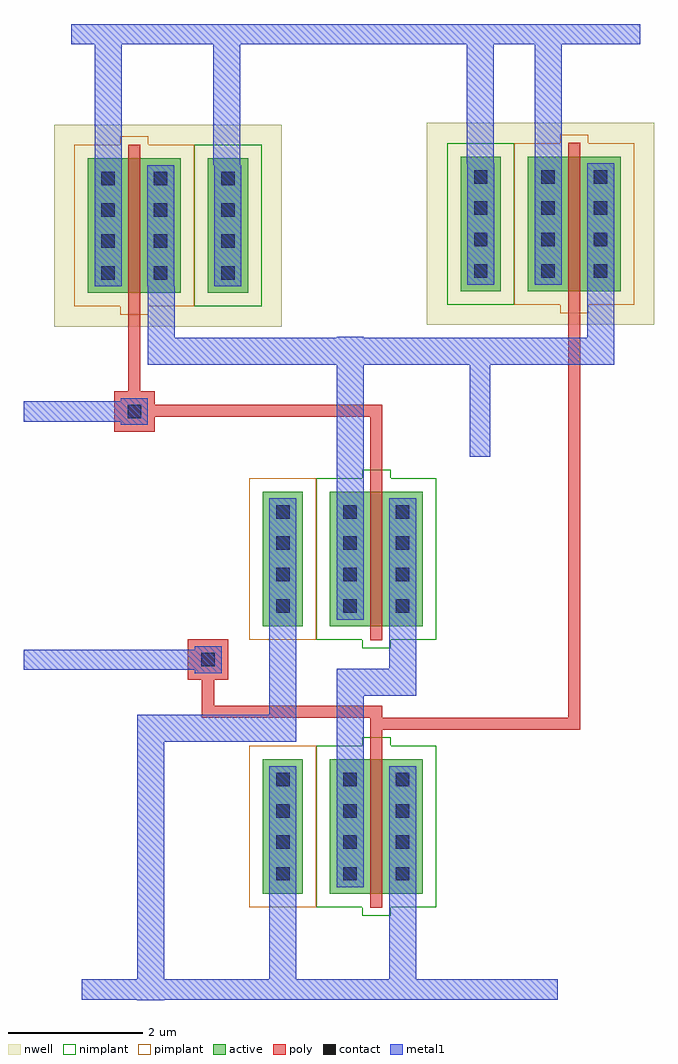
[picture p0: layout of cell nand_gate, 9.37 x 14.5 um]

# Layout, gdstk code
import gdstk
lib = gdstk.Library(unit=1e-6, precision=5e-10)
def R(c, l, rs):  # rectangles x0, y0, x1, y1
    for r in rs: c.add(gdstk.rectangle(r[:2], r[2:], *l))
def A(c, l, x, y, w, h, nx, ny, dx, dy):  # array of equal rectangles
    R(c, l, [(x+i*dx, y+j*dy, x+i*dx+w, y+j*dy+h) for i in range(nx) for j in range(ny)])
active = (1, 0)
nwell = (2, 0)
poly = (3, 0)
nimplant = (4, 0)
pimplant = (5, 0)
contact = (6, 0)
metal1 = (7, 0)

nmos_cdns_691656648010 = lib.new_cell('nmos_CDNS_691656648010')
R(nmos_cdns_691656648010, active, [(-1.6,0,-1,2), (-0.6,0,0,2), (0,0,0.18,2), (0.18,0,0.78,2)])
R(nmos_cdns_691656648010, poly, [(0,-0.205,0.18,-0.2), (0,-0.2,0.18,0), (0,0,0.18,2), (0,2,0.18,2.2), (0,2.2,0.18,2.205)])
R(nmos_cdns_691656648010, nimplant, [(-0.12,-0.325,0.3,-0.2), (-0.8,-0.2,0.98,2.2), (-0.12,2.2,0.3,2.325)])
R(nmos_cdns_691656648010, pimplant, [(-1.8,-0.2,-0.8,2.2)])
A(nmos_cdns_691656648010, contact, -1.4, 0.67, 0.2, 0.2, 1, 3, 0, 0.465)
A(nmos_cdns_691656648010, contact, -0.4, 0.67, 0.2, 0.2, 1, 3, 0, 0.465)
A(nmos_cdns_691656648010, contact, 0.38, 0.67, 0.2, 0.2, 1, 3, 0, 0.465)
R(nmos_cdns_691656648010, contact, [(-1.4,0.2,-1.2,0.4), (-0.4,0.2,-0.2,0.4), (0.38,0.2,0.58,0.4)])
R(nmos_cdns_691656648010, metal1, [(-1.5,0.1,-1.1,1.9), (-0.5,0.1,-0.1,1.9), (0.28,0.1,0.68,1.9)])

pmos_cdns_691656648011 = lib.new_cell('pmos_CDNS_691656648011')
R(pmos_cdns_691656648011, active, [(-0.6,0,0,2), (0,0,0.18,2), (0.18,0,0.78,2), (1.18,0,1.78,2)])
R(pmos_cdns_691656648011, nwell, [(-1.1,-0.5,2.28,2.5)])
R(pmos_cdns_691656648011, poly, [(0,-0.205,0.18,-0.2), (0,-0.2,0.18,0), (0,0,0.18,2), (0,2,0.18,2.2), (0,2.2,0.18,2.205)])
R(pmos_cdns_691656648011, nimplant, [(0.98,-0.2,1.98,2.2)])
R(pmos_cdns_691656648011, pimplant, [(-0.12,-0.325,0.3,-0.2), (-0.8,-0.2,0.98,2.2), (-0.12,2.2,0.3,2.325)])
A(pmos_cdns_691656648011, contact, -0.4, 0.67, 0.2, 0.2, 1, 3, 0, 0.465)
A(pmos_cdns_691656648011, contact, 0.38, 0.67, 0.2, 0.2, 1, 3, 0, 0.465)
A(pmos_cdns_691656648011, contact, 1.38, 0.67, 0.2, 0.2, 1, 3, 0, 0.465)
R(pmos_cdns_691656648011, contact, [(-0.4,0.2,-0.2,0.4), (0.38,0.2,0.58,0.4), (1.38,0.2,1.58,0.4)])
R(pmos_cdns_691656648011, metal1, [(-0.5,0.1,-0.1,1.9), (0.28,0.1,0.68,1.9), (1.28,0.1,1.68,1.9)])

pmos_cdns_691656648012 = lib.new_cell('pmos_CDNS_691656648012')
R(pmos_cdns_691656648012, active, [(-1.6,0,-1,2), (-0.6,0,0,2), (0,0,0.18,2), (0.18,0,0.78,2)])
R(pmos_cdns_691656648012, nwell, [(-2.1,-0.5,1.28,2.5)])
R(pmos_cdns_691656648012, poly, [(0,-0.205,0.18,-0.2), (0,-0.2,0.18,0), (0,0,0.18,2), (0,2,0.18,2.2), (0,2.2,0.18,2.205)])
R(pmos_cdns_691656648012, nimplant, [(-1.8,-0.2,-0.8,2.2)])
R(pmos_cdns_691656648012, pimplant, [(-0.12,-0.325,0.3,-0.2), (-0.8,-0.2,0.98,2.2), (-0.12,2.2,0.3,2.325)])
A(pmos_cdns_691656648012, contact, -1.4, 0.67, 0.2, 0.2, 1, 3, 0, 0.465)
A(pmos_cdns_691656648012, contact, -0.4, 0.67, 0.2, 0.2, 1, 3, 0, 0.465)
A(pmos_cdns_691656648012, contact, 0.38, 0.67, 0.2, 0.2, 1, 3, 0, 0.465)
R(pmos_cdns_691656648012, contact, [(-1.4,0.2,-1.2,0.4), (-0.4,0.2,-0.2,0.4), (0.38,0.2,0.58,0.4)])
R(pmos_cdns_691656648012, metal1, [(-1.5,0.1,-1.1,1.9), (-0.5,0.1,-0.1,1.9), (0.28,0.1,0.68,1.9)])

m1_poly1_cdns_6916566480 = lib.new_cell('M1_POLY1_CDNS_691656648010')
R(m1_poly1_cdns_6916566480, poly, [(-0.3,-0.3,0.3,0.3)])
R(m1_poly1_cdns_6916566480, contact, [(-0.1,-0.1,0.1,0.1)])
R(m1_poly1_cdns_6916566480, metal1, [(-0.2,-0.2,0.2,0.2)])

nand_gate = lib.new_cell('nand_gate')
R(nand_gate, metal1, [(4.7,-1.98,5,-1.68), (0,2.92,0.3,3.22), (6.63,6.085,6.93,6.385), (0,6.605,0.3,6.905), (4.765,12.21,5.065,12.51)])
nand_gate.add(gdstk.FlexPath([(5.24,2.295),(5.24,2.115)], 0.18, ends="extended", simple_path=True, layer=3, datatype=0))  # poly
nand_gate.add(gdstk.FlexPath([(8.18,2.115),(5.24,2.115)], 0.18, ends="extended", simple_path=True, layer=3, datatype=0))  # poly
nand_gate.add(gdstk.FlexPath([(8.18,8.335),(8.18,2.115)], 0.18, ends=(0, 0.09), simple_path=True, layer=3, datatype=0))  # poly
nand_gate.add(gdstk.FlexPath([(2.74,3.15),(2.74,2.295)], 0.18, ends=(0, 0.09), simple_path=True, layer=3, datatype=0))  # poly
nand_gate.add(gdstk.FlexPath([(2.74,2.295),(5.24,2.295)], 0.18, ends="extended", simple_path=True, layer=3, datatype=0))  # poly
nand_gate.add(gdstk.FlexPath([(5.24,2.115),(5.24,1.795)], 0.18, ends=(0.09, 0), simple_path=True, layer=3, datatype=0))  # poly
nand_gate.add(gdstk.FlexPath([(1.645,6.755),(1.645,6.765)], 0.18, ends=(0, 0.09), simple_path=True, layer=3, datatype=0))  # poly
nand_gate.add(gdstk.FlexPath([(5.24,5.77),(5.24,6.765)], 0.18, ends=(0, 0.09), simple_path=True, layer=3, datatype=0))  # poly
nand_gate.add(gdstk.FlexPath([(5.24,6.765),(1.645,6.765)], 0.18, ends="extended", simple_path=True, layer=3, datatype=0))  # poly
nand_gate.add(gdstk.FlexPath([(1.645,6.765),(1.645,8.31)], 0.18, ends=(0.09, 0), simple_path=True, layer=3, datatype=0))  # poly
nand_gate.add(gdstk.FlexPath([(1.645,6.755),(1.645,6.555)], 0.18, ends=(0.09, 0), simple_path=True, layer=3, datatype=0))  # poly
nand_gate.add(gdstk.FlexPath([(1.89,-1.83),(0.865,-1.83)], 0.3, ends=(0.2, 0), simple_path=True, layer=7, datatype=0))  # metal1
nand_gate.add(gdstk.FlexPath([(1.89,-1.83),(1.89,-1.985)], 0.4, ends=(0.15, 0), simple_path=True, layer=7, datatype=0))  # metal1
nand_gate.add(gdstk.FlexPath([(1.89,2.05),(1.89,-1.83)], 0.4, ends=(0.2, 0.15), simple_path=True, layer=7, datatype=0))  # metal1
nand_gate.add(gdstk.FlexPath([(3.85,2.05),(1.89,2.05)], 0.4, ends="extended", simple_path=True, layer=7, datatype=0))  # metal1
nand_gate.add(gdstk.FlexPath([(3.85,-0.31),(3.85,-1.975)], 0.4, ends="flush", simple_path=True, layer=7, datatype=0))  # metal1
nand_gate.add(gdstk.FlexPath([(3.85,3.665),(3.85,2.05)], 0.4, ends=(0, 0.2), simple_path=True, layer=7, datatype=0))  # metal1
nand_gate.add(gdstk.FlexPath([(6.78,12.36),(7.79,12.36)], 0.3, ends=(0.2, 0.2), simple_path=True, layer=7, datatype=0))  # metal1
nand_gate.add(gdstk.FlexPath([(6.78,12.36),(6.78,12.505)], 0.4, ends=(0.15, 0), simple_path=True, layer=7, datatype=0))  # metal1
nand_gate.add(gdstk.FlexPath([(6.78,10.435),(6.78,12.36)], 0.4, ends=(0, 0.15), simple_path=True, layer=7, datatype=0))  # metal1
nand_gate.add(gdstk.FlexPath([(3.02,12.36),(1.255,12.36)], 0.3, ends=(0.2, 0.2), simple_path=True, layer=7, datatype=0))  # metal1
nand_gate.add(gdstk.FlexPath([(3.02,12.36),(3.02,12.435)], 0.4, ends=(0.15, 0), simple_path=True, layer=7, datatype=0))  # metal1
nand_gate.add(gdstk.FlexPath([(3.02,10.41),(3.02,12.36)], 0.4, ends=(0, 0.15), simple_path=True, layer=7, datatype=0))  # metal1
nand_gate.add(gdstk.FlexPath([(8.57,7.65),(6.78,7.65)], 0.4, ends=(0.2, 0.15), simple_path=True, layer=7, datatype=0))  # metal1
nand_gate.add(gdstk.FlexPath([(6.78,6.385),(6.78,7.65)], 0.3, ends=(0, 0.2), simple_path=True, layer=7, datatype=0))  # metal1
nand_gate.add(gdstk.FlexPath([(0.3,3.07),(2.74,3.07)], 0.3, ends="flush", simple_path=True, layer=7, datatype=0))  # metal1
nand_gate.add(gdstk.FlexPath([(4.855,2.735),(4.855,1.49)], 0.4, ends=(0.2, 0), simple_path=True, layer=7, datatype=0))  # metal1
nand_gate.add(gdstk.FlexPath([(5.63,2.735),(4.855,2.735)], 0.4, ends="extended", simple_path=True, layer=7, datatype=0))  # metal1
nand_gate.add(gdstk.FlexPath([(5.63,-0.31),(5.63,-1.97)], 0.4, ends="flush", simple_path=True, layer=7, datatype=0))  # metal1
nand_gate.add(gdstk.FlexPath([(5.63,3.665),(5.63,2.735)], 0.4, ends=(0, 0.2), simple_path=True, layer=7, datatype=0))  # metal1
nand_gate.add(gdstk.FlexPath([(0.3,6.755),(1.645,6.755)], 0.3, ends="flush", simple_path=True, layer=7, datatype=0))  # metal1
nand_gate.add(gdstk.FlexPath([(5,-1.83),(7.935,-1.83)], 0.3, ends="flush", simple_path=True, layer=7, datatype=0))  # metal1
nand_gate.add(gdstk.FlexPath([(4.7,-1.83),(1.89,-1.83)], 0.3, ends=(0, 0.2), simple_path=True, layer=7, datatype=0))  # metal1
nand_gate.add(gdstk.FlexPath([(4.85,5.465),(4.85,7.865)], 0.4, ends="flush", simple_path=True, layer=7, datatype=0))  # metal1
nand_gate.add(gdstk.FlexPath([(5.065,12.36),(6.78,12.36)], 0.3, ends=(0, 0.2), simple_path=True, layer=7, datatype=0))  # metal1
nand_gate.add(gdstk.FlexPath([(7.79,10.44),(7.79,12.36)], 0.4, ends=(0, 0.15), simple_path=True, layer=7, datatype=0))  # metal1
nand_gate.add(gdstk.FlexPath([(4.765,12.36),(3.02,12.36)], 0.3, ends=(0, 0.2), simple_path=True, layer=7, datatype=0))  # metal1
nand_gate.add(gdstk.FlexPath([(1.255,10.415),(1.255,12.36)], 0.4, ends=(0, 0.15), simple_path=True, layer=7, datatype=0))  # metal1
nand_gate.add(gdstk.FlexPath([(7.79,12.36),(9.16,12.36)], 0.3, ends=(0.2, 0), simple_path=True, layer=7, datatype=0))  # metal1
nand_gate.add(gdstk.FlexPath([(1.255,12.36),(0.71,12.36)], 0.3, ends=(0.2, 0), simple_path=True, layer=7, datatype=0))  # metal1
nand_gate.add(gdstk.FlexPath([(2.045,7.65),(2.045,8.615)], 0.4, ends=(0.2, 0), simple_path=True, layer=7, datatype=0))  # metal1
nand_gate.add(gdstk.FlexPath([(6.78,7.65),(2.045,7.65)], 0.4, ends=(0.15, 0.2), simple_path=True, layer=7, datatype=0))  # metal1
nand_gate.add(gdstk.FlexPath([(8.57,8.64),(8.57,7.65)], 0.4, ends=(0, 0.2), simple_path=True, layer=7, datatype=0))  # metal1
nand_gate.add(gdstk.Reference(nmos_cdns_691656648010, (5.15,-0.41)))
nand_gate.add(gdstk.Reference(nmos_cdns_691656648010, (5.15,3.565)))
nand_gate.add(gdstk.Reference(pmos_cdns_691656648011, (1.555,8.515)))
nand_gate.add(gdstk.Reference(pmos_cdns_691656648012, (8.09,8.54)))
nand_gate.add(gdstk.Reference(m1_poly1_cdns_6916566480, (2.74,3.07)))
nand_gate.add(gdstk.Reference(m1_poly1_cdns_6916566480, (1.645,6.755)))

lib.write_gds('nand_gate.gds')
